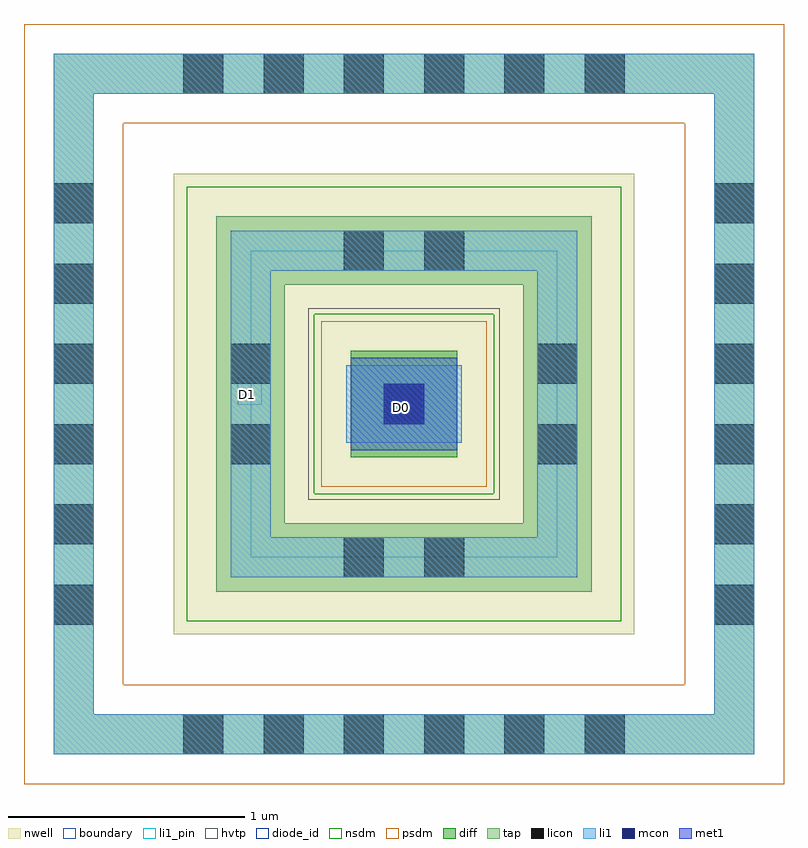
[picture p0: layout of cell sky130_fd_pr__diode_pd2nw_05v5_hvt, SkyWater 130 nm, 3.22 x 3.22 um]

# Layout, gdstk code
import gdstk
lib = gdstk.Library(unit=1e-6, precision=1e-09)
def R(c, l, rs):  # rectangles x0, y0, x1, y1
    for r in rs: c.add(gdstk.rectangle(r[:2], r[2:], *l))
def A(c, l, x, y, w, h, nx, ny, dx, dy):  # array of equal rectangles
    R(c, l, [(x+i*dx, y+j*dy, x+i*dx+w, y+j*dy+h) for i in range(nx) for j in range(ny)])
nwell = (64, 20)
diff = (65, 20)
tap = (65, 44)
licon = (66, 44)
li1_pin = (67, 16)
li1 = (67, 20)
mcon = (67, 44)
met1 = (68, 20)
hvtp = (78, 44)
diode_id = (81, 23)
nsdm = (93, 44)
psdm = (94, 20)
boundary = (235, 4)

sky130_fd_pr__diode_pd2n = lib.new_cell('sky130_fd_pr__diode_pd2nw_05v5_hvt')
R(sky130_fd_pr__diode_pd2n, nwell, [(-11.97,-6.39,-10.02,-4.44)])
R(sky130_fd_pr__diode_pd2n, diff, [(-11.22,-5.64,-10.77,-5.19)])
R(sky130_fd_pr__diode_pd2n, tap, [(-12.48,-6.9,-9.51,-6.73), (-12.48,-6.73,-12.31,-4.1), (-9.68,-6.73,-9.51,-4.1), (-11.79,-6.21,-10.2,-5.92), (-11.79,-5.92,-11.5,-4.91), (-10.49,-5.92,-10.2,-4.91), (-11.79,-4.91,-10.2,-4.62), (-12.48,-4.1,-9.51,-3.93)])
A(sky130_fd_pr__diode_pd2n, licon, -11.93, -6.9, 0.17, 0.17, 6, 2, 0.34, 2.8)
A(sky130_fd_pr__diode_pd2n, licon, -12.48, -6.35, 0.17, 0.17, 1, 6, 0, 0.34)
A(sky130_fd_pr__diode_pd2n, licon, -9.68, -6.35, 0.17, 0.17, 1, 6, 0, 0.34)
R(sky130_fd_pr__diode_pd2n, licon, [(-11.25,-6.15,-11.08,-5.98), (-10.91,-6.15,-10.74,-5.98), (-11.73,-5.67,-11.56,-5.5), (-10.43,-5.67,-10.26,-5.5), (-11.08,-5.5,-10.91,-5.33), (-11.73,-5.33,-11.56,-5.16), (-10.43,-5.33,-10.26,-5.16), (-11.25,-4.85,-11.08,-4.68), (-10.91,-4.85,-10.74,-4.68)])
R(sky130_fd_pr__diode_pd2n, li1_pin, [(-11.047,-5.477,-10.946,-5.362), (-11.699,-5.419,-11.598,-5.304)])
R(sky130_fd_pr__diode_pd2n, li1, [(-12.48,-6.9,-9.51,-6.73), (-12.48,-6.73,-12.31,-4.1), (-9.68,-6.73,-9.51,-4.1), (-11.73,-6.15,-10.26,-5.98), (-11.73,-5.98,-11.56,-4.85), (-10.43,-5.98,-10.26,-4.85), (-11.24,-5.58,-10.75,-5.25), (-11.73,-4.85,-10.26,-4.68), (-12.48,-4.1,-9.51,-3.93)])
R(sky130_fd_pr__diode_pd2n, mcon, [(-11.08,-5.5,-10.91,-5.33)])
R(sky130_fd_pr__diode_pd2n, met1, [(-11.22,-5.61,-10.77,-5.22)])
R(sky130_fd_pr__diode_pd2n, hvtp, [(-11.4,-5.82,-10.59,-5.01)])
R(sky130_fd_pr__diode_pd2n, diode_id, [(-11.22,-5.64,-10.77,-5.19)])
R(sky130_fd_pr__diode_pd2n, nsdm, [(-11.915,-6.335,-10.075,-5.795), (-11.915,-5.795,-11.375,-5.035), (-10.615,-5.795,-10.075,-5.035), (-11.915,-5.035,-10.075,-4.495)])
R(sky130_fd_pr__diode_pd2n, psdm, [(-12.605,-7.025,-9.385,-6.605), (-12.605,-6.605,-12.185,-4.225), (-9.805,-6.605,-9.385,-4.225), (-11.345,-5.765,-10.645,-5.065), (-12.605,-4.225,-9.385,-3.805)])
R(sky130_fd_pr__diode_pd2n, boundary, [(-11.645,-6.065,-10.345,-4.765)])
sky130_fd_pr__diode_pd2n.add(gdstk.Label('D0', (-11.006,-5.431), layer=67, texttype=5))
sky130_fd_pr__diode_pd2n.add(gdstk.Label('D1', (-11.658,-5.373), layer=67, texttype=5))

lib.write_gds('sky130_fd_pr__diode_pd2nw_05v5_hvt.gds')
